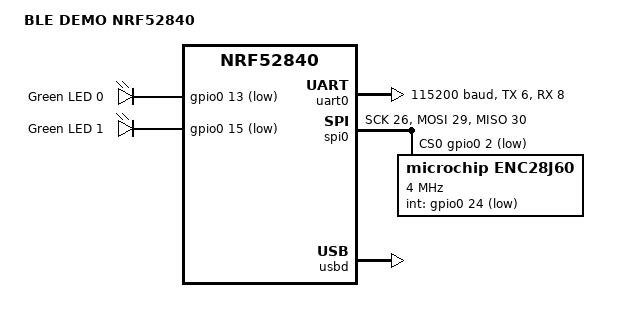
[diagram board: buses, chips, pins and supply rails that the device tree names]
/*
 * Copyright (c) 2017 Linaro Limited
 *
 * SPDX-License-Identifier: Apache-2.0
 */

/dts-v1/;
#include <nordic/nrf52840_qiaa.dtsi>

/ {
	model = "BLE DEMO NRF52840";
	compatible = "nordic,ble-demo-nrf52840";

	chosen {
		zephyr,console = &uart0;
		zephyr,shell-uart = &uart0;
		zephyr,uart-mcumgr = &uart0;
		zephyr,bt-mon-uart = &uart0;
		zephyr,bt-c2h-uart = &uart0;
		zephyr,sram = &sram0;
		zephyr,flash = &flash0;
		zephyr,code-partition = &slot0_partition;
	};

	leds {
		compatible = "gpio-leds";
		led0: led_0 {
			gpios = <&gpio0 13 GPIO_ACTIVE_LOW>;
			label = "Green LED 0";
		};
		led1: led_1 {
			gpios = <&gpio0 15 GPIO_ACTIVE_LOW>;
			label = "Green LED 1";
		};
	};

  resets {
    compatible = "gpio-resets";
		reset0: reset_0 {
			gpios = <&gpio0 22 GPIO_ACTIVE_LOW>;
			label = "RESET ENC28J60";
		};
  };

	/* These aliases are provided for compatibility with samples */
	aliases {
		led0 = &led0;
		led1 = &led1;
    reset0 = &reset0;
	};
};

&gpiote {
	status = "okay";
};

&gpio0 {
	status = "okay";
};

&gpio1 {
	status = "okay";
};

&uart0 {
	compatible = "nordic,nrf-uarte";
	status = "okay";
	current-speed = <115200>;
	tx-pin = <6>;
	rx-pin = <8>;
	rts-pin = <5>;
	cts-pin = <7>;
};

&rtc1 {
	interrupts = <17 0>;
};

&rtc2 {
	interrupts = <36 0>;
};

&spi0 {
	compatible = "nordic,nrf-spi";
	status = "okay";
	sck-pin = <26>;
	mosi-pin = <29>;
	miso-pin = <30>;
	cs-gpios = <&gpio0 2 GPIO_ACTIVE_LOW>;
	
	eth_enc28j60: eth_enc28j60@0 {
		compatible = "microchip,enc28j60";
		reg = <0x0>;
		local-mac-address = [56 53 48 4f 4d 45];
		spi-max-frequency = <4000000>;
		int-gpios = <&gpio0 24 GPIO_ACTIVE_LOW>;
		label = "ENC28J60";
	};
};

&flash0 {

	partitions {
		compatible = "fixed-partitions";
		#address-cells = <1>;
		#size-cells = <1>;

		boot_partition: partition@0 {
			label = "mcuboot";
			reg = <0x000000000 0x0000C000>;
		};
		slot0_partition: partition@c000 {
			label = "image-0";
			reg = <0x0000C000 0x00067000>;
		};
		slot1_partition: partition@73000 {
			label = "image-1";
			reg = <0x00073000 0x00067000>;
		};
		scratch_partition: partition@da000 {
			label = "image-scratch";
			reg = <0x000da000 0x0001e000>;
		};

		/*
		 * The flash starting at 0x000f8000 and ending at
		 * 0x000fffff is reserved for use by the application.
		 */

		/*
		 * Storage partition will be used by FCB/LittleFS/NVS
		 * if enabled.
		 */
		storage_partition: partition@f8000 {
			label = "storage";
			reg = <0x000f8000 0x00008000>;
		};
	};
};

&usbd {
	compatible = "nordic,nrf-usbd";
	status = "okay";
};
